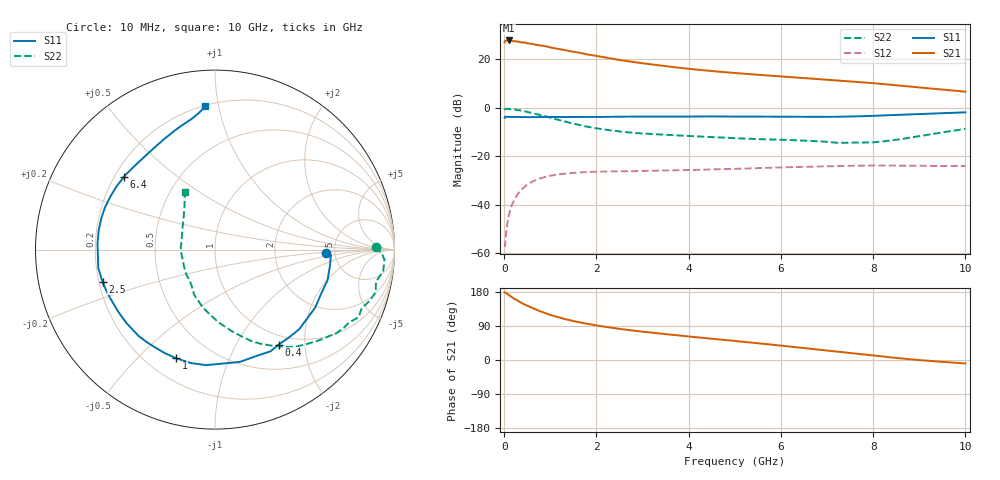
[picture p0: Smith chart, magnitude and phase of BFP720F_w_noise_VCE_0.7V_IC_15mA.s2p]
! Infineon Technologies  Discrete & RF Semiconductors
! BFP720F
! VCE =  0.7 V,  IC =  15 mA
! Common Emitter S-Parameters:  Jan 2016
# GHz  S  MA  R  50
!  f  S11  S21  S12  S22
! GHz  MAG  ANG  MAG  ANG  MAG  ANG  MAG  ANG
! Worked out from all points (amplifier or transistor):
!   233 points, 10 MHz to 10 GHz, reference 50 ohm
!   highest |S21| = 27.7 dB at 100 MHz (marker M1)
!   |S21| within 3 dB of that: start of sweep to 1.033 GHz
!   unconditionally stable (mu >= 1): start of sweep to 28.7 MHz; 5.346 GHz to end of sweep
!   at 200 MHz: K = 0.16, MSG = 33.1 dB, |S12| = -38.8 dB
!   at 1.74 GHz: K = 0.44, MSG = 24.4 dB, |S12| = -26.6 dB
!   at 10 GHz: K = 1.44, MAG = 11.4 dB, |S12| = -24.1 dB
!   lowest NFmin = 0.69 dB at 450 MHz
!   S11 on the Smith chart (normalised r, x): 10 MHz: 4.21, -0.26; 400 MHz: 0.85, -1.52; 1 GHz: 0.32, -0.66; 2.5 GHz: 0.22, -0.13; 6.4 GHz: 0.24, +0.33; 10 GHz: 0.21, +0.91
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0.01  0.6171 -1.8  22.06 178.5  0.0015 15.3  0.8968 1.1
0.02  0.6464 -2.7  23.72 178.0  0.0015 60.1  0.9328 -1.7
0.05  0.6472 -7.3  23.83 176.5  0.003 76.3  0.9465 -3.5
0.1  0.6497 -15.2  24.18 171.5  0.0059 78.0  0.9446 -7.3
0.3  0.6458 -43.4  23.02 155.7  0.0169 68.5  0.8802 -21.9
0.4  0.6368 -56.2  21.95 149.5  0.0216 64.1  0.8498 -28.6
0.45  0.6457 -61.3  21.98 145.8  0.0237 61.9  0.8389 -31.4
0.5  0.6365 -67.2  21.15 143.6  0.0257 60.0  0.8209 -34.6
0.6  0.6409 -77.4  20.72 137.7  0.0296 55.0  0.7718 -40.7
0.7  0.6374 -87.2  19.55 132.4  0.0328 50.9  0.732 -46.1
0.8  0.6455 -94.6  19.16 127.6  0.0352 47.7  0.701 -50.7
1  0.6431 -109.7  17.38 118.9  0.0396 40.8  0.6165 -60.0
1.32  0.6409 -127.8  15.27 108.0  0.0438 33.1  0.5161 -71.8
1.68  0.6402 -143.1  13.16 98.4  0.0465 26.6  0.4267 -83.5
2.02  0.6424 -153.4  11.52 90.9  0.0478 22.5  0.372 -92.6
2.5  0.6514 -164.1  9.57 82.3  0.0487 18.5  0.3233 -103.0
3.4  0.6538 179.3  7.317 69.7  0.0504 14.9  0.2792 -114.0
5.1  0.6554 157.9  5.079 49.1  0.0552 11.3  0.2329 -125.1
6.4  0.6489 141.3  4.129 32.9  0.0601 7.2  0.2114 -138.7
6.8  0.6463 135.1  3.875 27.7  0.0614 5.6  0.2022 -145.8
8.4  0.7012 108.4  2.953 6.6  0.0642 -2.1  0.2113 149.7
10  0.8 94.0  2.134 -9.2  0.0624 -6.3  0.3638 117.7
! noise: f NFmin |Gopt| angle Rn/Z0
0.45  0.69  0.24  1  0.47
0.9  0.71  0.18  6  0.15
1.8  0.75  0.16  8  0.15
2.4  0.77  0.14  12  0.13
5.5  0.93  0.11  16  0.08
10  1.1  0.32  -85  0.21
